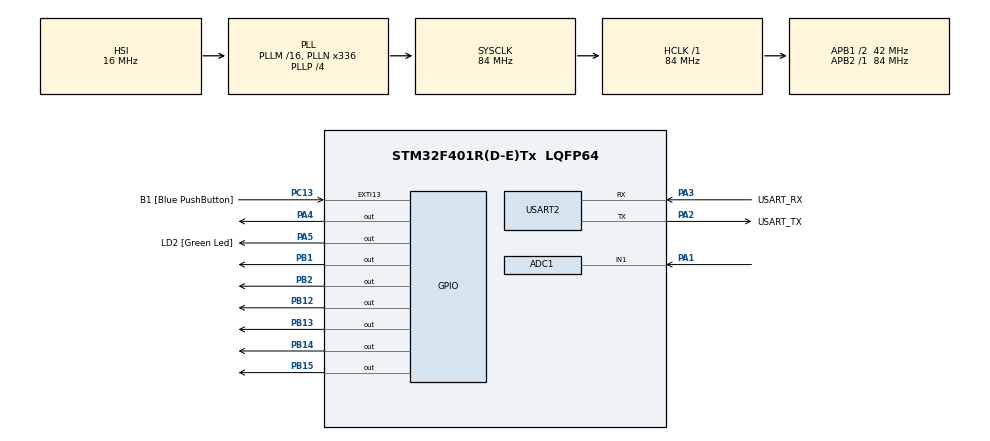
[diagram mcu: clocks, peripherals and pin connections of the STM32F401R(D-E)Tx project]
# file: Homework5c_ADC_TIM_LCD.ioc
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ADC1.Channel-0\#ChannelRegularConversion=ADC_CHANNEL_1
ADC1.ExternalTrigConv=ADC_EXTERNALTRIGCONV_T2_TRGO
ADC1.NbrOfConversionFlag=1
ADC1.Rank-0\#ChannelRegularConversion=1
ADC1.SamplingTime-0\#ChannelRegularConversion=ADC_SAMPLETIME_480CYCLES
ADC1.master=1
Mcu.Family=STM32F4
Mcu.Name=STM32F401R(D-E)Tx
Mcu.Package=LQFP64
NVIC.ADC_IRQn=true\:0\:0\:false\:false\:true\:true\:true\:true
NVIC.PriorityGroup=NVIC_PRIORITYGROUP_0
PA1.Signal=ADCx_IN1
PA13.GPIO_Label=TMS
PA13.Mode=Serial_Wire
PA13.Signal=SYS_JTMS-SWDIO
PA14.GPIO_Label=TCK
PA14.Mode=Serial_Wire
PA14.Signal=SYS_JTCK-SWCLK
PA2.GPIO_Label=USART_TX
PA2.GPIO_Mode=GPIO_MODE_AF_PP
PA2.GPIO_PuPd=GPIO_NOPULL
PA2.GPIO_Speed=GPIO_SPEED_FREQ_LOW
PA2.Mode=Asynchronous
PA2.Signal=USART2_TX
PA3.GPIO_Label=USART_RX
PA3.GPIO_Mode=GPIO_MODE_AF_PP
PA3.GPIO_PuPd=GPIO_NOPULL
PA3.GPIO_Speed=GPIO_SPEED_FREQ_LOW
PA3.Mode=Asynchronous
PA3.Signal=USART2_RX
PA4.Signal=GPIO_Output
PA5.GPIO_Label=LD2 [Green Led]
PA5.GPIO_Mode=GPIO_MODE_OUTPUT_PP
PA5.GPIO_PuPd=GPIO_NOPULL
PA5.GPIO_Speed=GPIO_SPEED_FREQ_LOW
PA5.Signal=GPIO_Output
PB1.Signal=GPIO_Output
PB12.Signal=GPIO_Output
PB13.Signal=GPIO_Output
PB14.Signal=GPIO_Output
PB15.Signal=GPIO_Output
PB2.Signal=GPIO_Output
PB3.GPIO_Label=SWO
PB3.Signal=SYS_JTDO-SWO
PC13-ANTI_TAMP.GPIO_Label=B1 [Blue PushButton]
PC13-ANTI_TAMP.GPIO_ModeDefaultEXTI=GPIO_MODE_IT_FALLING
PC13-ANTI_TAMP.GPIO_PuPd=GPIO_NOPULL
PC13-ANTI_TAMP.Signal=GPXTI13
PC14-OSC32_IN.Mode=LSE-External-Oscillator
PC14-OSC32_IN.Signal=RCC_OSC32_IN
PC15-OSC32_OUT.Mode=LSE-External-Oscillator
PC15-OSC32_OUT.Signal=RCC_OSC32_OUT
PH0\ -\ OSC_IN.Mode=HSE-External-Clock-Source
PH0\ -\ OSC_IN.Signal=RCC_OSC_IN
PH1\ -\ OSC_OUT.Mode=HSE-External-Clock-Source
PH1\ -\ OSC_OUT.Signal=RCC_OSC_OUT
ProjectManager.HeapSize=0x200
ProjectManager.StackSize=0x400
ProjectManager.TargetToolchain=STM32CubeIDE
RCC.48MHZClocksFreq_Value=48000000
RCC.AHBFreq_Value=84000000
RCC.APB1CLKDivider=RCC_HCLK_DIV2
RCC.APB1Freq_Value=42000000
RCC.APB1TimFreq_Value=84000000
RCC.APB2Freq_Value=84000000
RCC.APB2TimFreq_Value=84000000
RCC.CortexFreq_Value=84000000
RCC.HCLKFreq_Value=84000000
RCC.HSE_VALUE=8000000
RCC.HSI_VALUE=16000000
RCC.PLLN=336
RCC.PLLP=RCC_PLLP_DIV4
RCC.PLLQ=7
RCC.SYSCLKFreq_VALUE=84000000
RCC.SYSCLKSource=RCC_SYSCLKSOURCE_PLLCLK
RCC.VCOOutputFreq_Value=336000000
SH.ADCx_IN1.0=ADC1_IN1,IN1
TIM2.Period=10000-1
TIM2.Prescaler=8400-1
TIM2.TIM_MasterOutputTrigger=TIM_TRGO_UPDATE
USART2.VirtualMode=VM_ASYNC
VP_TIM2_VS_ClockSourceINT.Mode=Internal
board=NUCLEO-F401RE

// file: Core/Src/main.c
/* USER CODE BEGIN Header */
/**
  ******************************************************************************
  * @file           : main.c
  * @brief          : Main program body
  ******************************************************************************
  * @attention
  *
  * Copyright (c) 2024 STMicroelectronics.
  * All rights reserved.
  *
  * This software is licensed under terms that can be found in the LICENSE file
  * in the root directory of this software component.
  * If no LICENSE file comes with this software, it is provided AS-IS.
  *
  ******************************************************************************
  *GOAL:
  *acquire the potentiometer voltage using a timer to trigger a conversion at a
  * regular conversion rate of 1 Hz and showing the value on the LCD.
  */
/* USER CODE END Header */
#include "main.h"

/* USER CODE BEGIN Includes */
#include "PMDB16_LCD.h"
#include "string.h"
#include "math.h"
/* USER CODE END Includes */

/* USER CODE BEGIN PD */

#define STR_LEN 17 //16 + 1 for the LCD display

#define BAR_STEP 80.0/4096.0 //used to print the LCD BAR as in the specs

#define LSB 3.3/4096.0

/* USER CODE END PD */

ADC_HandleTypeDef hadc1;

TIM_HandleTypeDef htim2;

UART_HandleTypeDef huart2;

/* USER CODE BEGIN PV */
char voltage[STR_LEN];

uint32_t dig_value = 0;

float an_value = 0.0;

int length = 0;

/* USER CODE END PV */

void SystemClock_Config(void);
static void MX_GPIO_Init(void);
static void MX_USART2_UART_Init(void);
static void MX_ADC1_Init(void);
static void MX_TIM2_Init(void);

/* USER CODE BEGIN 0 */
void HAL_ADC_ConvCpltCallback(ADC_HandleTypeDef* hadc){
	if(hadc=&hadc1){ 							//checking if the interrupt have been called by ADC1

		dig_value = HAL_ADC_GetValue(&hadc1);	//getting the digital value

		an_value = (LSB)*dig_value;				//converting into voltage

		length = snprintf(voltage, sizeof(voltage), "Voltage: %.3fV", an_value); //preparing the string

		lcd_println(voltage, 0);		// Printing the string

		lcd_drawBar(round(dig_value*BAR_STEP)); //printing the bar using the digital value and round() in order to approximate properly
	}

}
/* USER CODE END 0 */

int main(void)
{

  /* MCU Configuration--------------------------------------------------------*/

  /* Reset of all peripherals, Initializes the Flash interface and the Systick. */
  HAL_Init();

  /* Configure the system clock */
  SystemClock_Config();

  /* Initialize all configured peripherals */
  MX_GPIO_Init();
  MX_USART2_UART_Init();
  MX_ADC1_Init();
  MX_TIM2_Init();
  /* USER CODE BEGIN 2 */
  lcd_initialize();	//initilize the LCD
  lcd_backlight_ON();
  lcd_clear();

  HAL_ADC_Start_IT(&hadc1); // start the first conversion
  __HAL_TIM_SET_COUNTER(&htim2,0); // reset the counter of tim2
  HAL_TIM_Base_Start(&htim2); // start timer

  /* USER CODE END 2 */

  /* Infinite loop */
  while (1)
  {

  }
}

void SystemClock_Config(void)
{
  RCC_OscInitTypeDef RCC_OscInitStruct = {0};
  RCC_ClkInitTypeDef RCC_ClkInitStruct = {0};

  /** Configure the main internal regulator output voltage
  */
  __HAL_RCC_PWR_CLK_ENABLE();
  __HAL_PWR_VOLTAGESCALING_CONFIG(PWR_REGULATOR_VOLTAGE_SCALE2);

  /** Initializes the RCC Oscillators according to the specified parameters
  * in the RCC_OscInitTypeDef structure.
  */
  RCC_OscInitStruct.OscillatorType = RCC_OSCILLATORTYPE_HSI;
  RCC_OscInitStruct.HSIState = RCC_HSI_ON;
  RCC_OscInitStruct.HSICalibrationValue = RCC_HSICALIBRATION_DEFAULT;
  RCC_OscInitStruct.PLL.PLLState = RCC_PLL_ON;
  RCC_OscInitStruct.PLL.PLLSource = RCC_PLLSOURCE_HSI;
  RCC_OscInitStruct.PLL.PLLM = 16;
  RCC_OscInitStruct.PLL.PLLN = 336;
  RCC_OscInitStruct.PLL.PLLP = RCC_PLLP_DIV4;
  RCC_OscInitStruct.PLL.PLLQ = 7;
  if (HAL_RCC_OscConfig(&RCC_OscInitStruct) != HAL_OK)
  {
    Error_Handler();
  }

  /** Initializes the CPU, AHB and APB buses clocks
  */
  RCC_ClkInitStruct.ClockType = RCC_CLOCKTYPE_HCLK|RCC_CLOCKTYPE_SYSCLK
                              |RCC_CLOCKTYPE_PCLK1|RCC_CLOCKTYPE_PCLK2;
  RCC_ClkInitStruct.SYSCLKSource = RCC_SYSCLKSOURCE_PLLCLK;
  RCC_ClkInitStruct.AHBCLKDivider = RCC_SYSCLK_DIV1;
  RCC_ClkInitStruct.APB1CLKDivider = RCC_HCLK_DIV2;
  RCC_ClkInitStruct.APB2CLKDivider = RCC_HCLK_DIV1;

  if (HAL_RCC_ClockConfig(&RCC_ClkInitStruct, FLASH_LATENCY_2) != HAL_OK)
  {
    Error_Handler();
  }
}

static void MX_ADC1_Init(void)
{

  ADC_ChannelConfTypeDef sConfig = {0};

  /** Configure the global features of the ADC (Clock, Resolution, Data Alignment and number of conversion)
  */
  hadc1.Instance = ADC1;
  hadc1.Init.ClockPrescaler = ADC_CLOCK_SYNC_PCLK_DIV4;
  hadc1.Init.Resolution = ADC_RESOLUTION_12B;
  hadc1.Init.ScanConvMode = DISABLE;
  hadc1.Init.ContinuousConvMode = DISABLE;
  hadc1.Init.DiscontinuousConvMode = DISABLE;
  hadc1.Init.ExternalTrigConvEdge = ADC_EXTERNALTRIGCONVEDGE_RISING;
  hadc1.Init.ExternalTrigConv = ADC_EXTERNALTRIGCONV_T2_TRGO;
  hadc1.Init.DataAlign = ADC_DATAALIGN_RIGHT;
  hadc1.Init.NbrOfConversion = 1;
  hadc1.Init.DMAContinuousRequests = DISABLE;
  hadc1.Init.EOCSelection = ADC_EOC_SINGLE_CONV;
  if (HAL_ADC_Init(&hadc1) != HAL_OK)
  {
    Error_Handler();
  }

  /** Configure for the selected ADC regular channel its corresponding rank in the sequencer and its sample time.
  */
  sConfig.Channel = ADC_CHANNEL_1;
  sConfig.Rank = 1;
  sConfig.SamplingTime = ADC_SAMPLETIME_480CYCLES;
  if (HAL_ADC_ConfigChannel(&hadc1, &sConfig) != HAL_OK)
  {
    Error_Handler();
  }

}

static void MX_TIM2_Init(void)
{

  TIM_ClockConfigTypeDef sClockSourceConfig = {0};
  TIM_MasterConfigTypeDef sMasterConfig = {0};

  htim2.Instance = TIM2;
  htim2.Init.Prescaler = 8400-1;
  htim2.Init.CounterMode = TIM_COUNTERMODE_UP;
  htim2.Init.Period = 10000-1;
  htim2.Init.ClockDivision = TIM_CLOCKDIVISION_DIV1;
  htim2.Init.AutoReloadPreload = TIM_AUTORELOAD_PRELOAD_DISABLE;
  if (HAL_TIM_Base_Init(&htim2) != HAL_OK)
  {
    Error_Handler();
  }
  sClockSourceConfig.ClockSource = TIM_CLOCKSOURCE_INTERNAL;
  if (HAL_TIM_ConfigClockSource(&htim2, &sClockSourceConfig) != HAL_OK)
  {
    Error_Handler();
  }
  sMasterConfig.MasterOutputTrigger = TIM_TRGO_UPDATE;
  sMasterConfig.MasterSlaveMode = TIM_MASTERSLAVEMODE_DISABLE;
  if (HAL_TIMEx_MasterConfigSynchronization(&htim2, &sMasterConfig) != HAL_OK)
  {
    Error_Handler();
  }

}

static void MX_USART2_UART_Init(void)
{

  huart2.Instance = USART2;
  huart2.Init.BaudRate = 115200;
  huart2.Init.WordLength = UART_WORDLENGTH_8B;
  huart2.Init.StopBits = UART_STOPBITS_1;
  huart2.Init.Parity = UART_PARITY_NONE;
  huart2.Init.Mode = UART_MODE_TX_RX;
  huart2.Init.HwFlowCtl = UART_HWCONTROL_NONE;
  huart2.Init.OverSampling = UART_OVERSAMPLING_16;
  if (HAL_UART_Init(&huart2) != HAL_OK)
  {
    Error_Handler();
  }

}

static void MX_GPIO_Init(void)
{
  GPIO_InitTypeDef GPIO_InitStruct = {0};

  /* GPIO Ports Clock Enable */
  __HAL_RCC_GPIOC_CLK_ENABLE();
  __HAL_RCC_GPIOH_CLK_ENABLE();
  __HAL_RCC_GPIOA_CLK_ENABLE();
  __HAL_RCC_GPIOB_CLK_ENABLE();

  /*Configure GPIO pin Output Level */
  HAL_GPIO_WritePin(GPIOA, GPIO_PIN_4|LD2_Pin, GPIO_PIN_RESET);

  /*Configure GPIO pin Output Level */
  HAL_GPIO_WritePin(GPIOB, GPIO_PIN_1|GPIO_PIN_2|GPIO_PIN_12|GPIO_PIN_13
                          |GPIO_PIN_14|GPIO_PIN_15, GPIO_PIN_RESET);

  /*Configure GPIO pin : B1_Pin */
  GPIO_InitStruct.Pin = B1_Pin;
  GPIO_InitStruct.Mode = GPIO_MODE_IT_FALLING;
  GPIO_InitStruct.Pull = GPIO_NOPULL;
  HAL_GPIO_Init(B1_GPIO_Port, &GPIO_InitStruct);

  /*Configure GPIO pins : PA4 LD2_Pin */
  GPIO_InitStruct.Pin = GPIO_PIN_4|LD2_Pin;
  GPIO_InitStruct.Mode = GPIO_MODE_OUTPUT_PP;
  GPIO_InitStruct.Pull = GPIO_NOPULL;
  GPIO_InitStruct.Speed = GPIO_SPEED_FREQ_LOW;
  HAL_GPIO_Init(GPIOA, &GPIO_InitStruct);

  /*Configure GPIO pins : PB1 PB2 PB12 PB13
                           PB14 PB15 */
  GPIO_InitStruct.Pin = GPIO_PIN_1|GPIO_PIN_2|GPIO_PIN_12|GPIO_PIN_13
                          |GPIO_PIN_14|GPIO_PIN_15;
  GPIO_InitStruct.Mode = GPIO_MODE_OUTPUT_PP;
  GPIO_InitStruct.Pull = GPIO_NOPULL;
  GPIO_InitStruct.Speed = GPIO_SPEED_FREQ_LOW;
  HAL_GPIO_Init(GPIOB, &GPIO_InitStruct);

}

void Error_Handler(void)
{
  __disable_irq();
  while (1)
  {
  }
}
